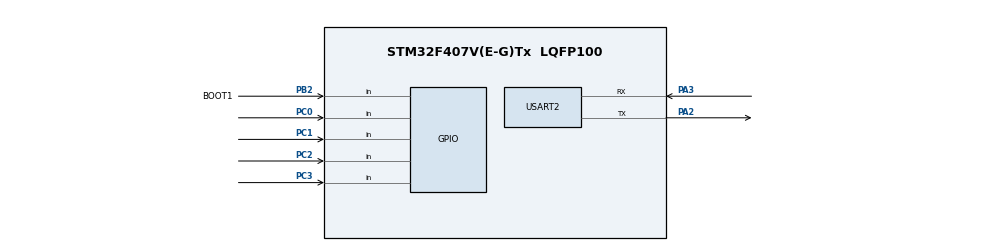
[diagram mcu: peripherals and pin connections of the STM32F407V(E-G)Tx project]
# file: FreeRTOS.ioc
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FREERTOS.INCLUDE_vTaskCleanUpResources=1
FREERTOS.INCLUDE_vTaskDelayUntil=1
FREERTOS.Tasks01=defaultTask,0,1280,StartDefaultTask,Default,NULL,Dynamic,NULL,NULL
FREERTOS.configGENERATE_RUN_TIME_STATS=1
FREERTOS.configMINIMAL_STACK_SIZE=256
FREERTOS.configUSE_STATS_FORMATTING_FUNCTIONS=1
FREERTOS.configUSE_TRACE_FACILITY=1
Mcu.Family=STM32F4
Mcu.Name=STM32F407V(E-G)Tx
Mcu.Package=LQFP100
NVIC.PriorityGroup=NVIC_PRIORITYGROUP_4
NVIC.TIM1_UP_TIM10_IRQn=true\:0\:0\:false\:false\:true\:false\:false\:true
NVIC.TimeBase=TIM1_UP_TIM10_IRQn
NVIC.TimeBaseIP=TIM1
PA13.GPIO_Label=SWDIO
PA13.Mode=Serial_Wire
PA13.Signal=SYS_JTMS-SWDIO
PA14.GPIO_Label=SWCLK
PA14.Mode=Serial_Wire
PA14.Signal=SYS_JTCK-SWCLK
PA2.Mode=Asynchronous
PA2.Signal=USART2_TX
PA3.Mode=Asynchronous
PA3.Signal=USART2_RX
PB2.GPIO_Label=BOOT1
PB2.GPIO_Mode=GPIO_MODE_INPUT
PB2.GPIO_PuPd=GPIO_NOPULL
PB2.Signal=GPIO_Input
PC0.Signal=GPIO_Input
PC1.Signal=GPIO_Input
PC14-OSC32_IN.Mode=LSE-External-Oscillator
PC14-OSC32_IN.Signal=RCC_OSC32_IN
PC15-OSC32_OUT.Mode=LSE-External-Oscillator
PC15-OSC32_OUT.Signal=RCC_OSC32_OUT
PC2.Signal=GPIO_Input
PC3.Signal=GPIO_Input
PH0-OSC_IN.Mode=HSE-External-Oscillator
PH0-OSC_IN.Signal=RCC_OSC_IN
PH1-OSC_OUT.Mode=HSE-External-Oscillator
PH1-OSC_OUT.Signal=RCC_OSC_OUT
ProjectManager.HeapSize=0x200
ProjectManager.StackSize=0x400
ProjectManager.TargetToolchain=STM32CubeIDE
RCC.48MHZClocksFreq_Value=48000000
RCC.AHBFreq_Value=168000000
RCC.APB1CLKDivider=RCC_HCLK_DIV4
RCC.APB1Freq_Value=42000000
RCC.APB1TimFreq_Value=84000000
RCC.APB2CLKDivider=RCC_HCLK_DIV2
RCC.APB2Freq_Value=84000000
RCC.APB2TimFreq_Value=168000000
RCC.CortexFreq_Value=168000000
RCC.HCLKFreq_Value=168000000
RCC.HSE_VALUE=8000000
RCC.HSI_VALUE=16000000
RCC.PLLM=8
RCC.PLLN=336
RCC.PLLQ=7
RCC.PLLSourceVirtual=RCC_PLLSOURCE_HSE
RCC.SYSCLKFreq_VALUE=168000000
RCC.SYSCLKSource=RCC_SYSCLKSOURCE_PLLCLK
RCC.VCOOutputFreq_Value=336000000
USART2.VirtualMode=VM_ASYNC
VP_FREERTOS_VS_CMSIS_V1.Mode=CMSIS_V1
VP_SYS_VS_tim1.Mode=TIM1
board=STM32F407G-DISC1

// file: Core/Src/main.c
/* USER CODE BEGIN Header */
/**
  ******************************************************************************
  * @file           : main.c
  * @brief          : Main program body
  ******************************************************************************
  * @attention
  *
  * <h2><center>&copy; Copyright (c) 2020 STMicroelectronics.
  * All rights reserved.</center></h2>
  *
  * This software component is licensed by ST under Ultimate Liberty license
  * SLA0044, the "License"; You may not use this file except in compliance with
  * the License. You may obtain a copy of the License at:
  *                             www.st.com/SLA0044
  *
  ******************************************************************************
  */
/* USER CODE END Header */
#include "main.h"
#include "cmsis_os.h"

/* USER CODE BEGIN Includes */
#include "tasks.h"
#include "init.h"
#include "stdint.h"
#include "string.h"
#include "stdio.h"
#include "stdlib.h"
#include "inttypes.h"
#include "stdarg.h"
/* USER CODE END Includes */

osThreadId defaultTaskHandle; //main task handle
/* USER CODE BEGIN PV */

osThreadId CarWash1Handle, CarWash2Handle, CarWash3Handle, CarWash4Handle; //handles for creating tasks
osMessageQId CarWash1Queue, CarWash2Queue, CarWash3Queue, CarWash4Queue; //handles for creating queues
xSemaphoreHandle Mutex;
xSemaphoreHandle SemaphoreFromISR; //Changing from ISR (MainButtonStatus)
volatile unsigned char Protect[4] = {1, 1, 1, 1,}; //Protect flags that program cant send message to car wasning tasks again while this tasks is running
volatile uint8_t AccesToDefaultTask = 0;
/* USER CODE END PV */

void StartDefaultTask(void const * argument);

/* USER CODE BEGIN PFP */
void SendMessageToWashingTask(uint8_t Task, uint8_t WashingPlace, osMessageQId* CarWashQueue);
/* USER CODE END PFP */

int main(void)
{

  /* MCU Configuration--------------------------------------------------------*/

  /* Reset of all peripherals, Initializes the Flash interface and the Systick. */
  HAL_Init();

  /* Configure the system clock */

  /* Initialize all configured peripherals */

  /* USER CODE BEGIN 2 */
  SystemClock_Config();
  MX_USART2_UART_Init();
  MX_GPIO_Init();
  /* USER CODE END 2 */

  /* USER CODE BEGIN RTOS_MUTEX */
  /* add mutexes, ... */
  Mutex = xSemaphoreCreateMutex(); /*mutex - using for protect critical part of code. In this program it is UART transmit (=*/
  SemaphoreFromISR = xSemaphoreCreateBinary();
  /* USER CODE END RTOS_MUTEX */

  /* USER CODE BEGIN RTOS_QUEUES */
  /* add queues, ... */
  osMessageQDef(CarWash1Queue, 1, uint16_t);
  CarWash1Queue = osMessageCreate(osMessageQ(CarWash1Queue), NULL);

  osMessageQDef(CarWash2Queue, 1, uint16_t);
  CarWash2Queue = osMessageCreate(osMessageQ(CarWash2Queue), NULL);

  osMessageQDef(CarWash3Queue, 1, uint16_t);
  CarWash3Queue = osMessageCreate(osMessageQ(CarWash3Queue), NULL);

  osMessageQDef(CarWash4Queue, 1, uint16_t);
  CarWash4Queue = osMessageCreate(osMessageQ(CarWash4Queue), NULL);
  /* USER CODE END RTOS_QUEUES */

  /* Create the thread(s) */
  /* definition and creation of defaultTask */
  osThreadDef(defaultTask, StartDefaultTask, osPriorityNormal, 0, 1280);
  defaultTaskHandle = osThreadCreate(osThread(defaultTask), NULL);

  /* Start scheduler */
  osKernelStart();

  /* We should never get here as control is now taken by the scheduler */
  /* Infinite loop */
  while (1)
  {

  }
}

/* USER CODE BEGIN 4 */
void SendMessageToWashingTask(uint8_t Task, uint8_t WashingPlace, osMessageQId* CarWashQueue)
{
  if(Protect[Task] && (HAL_GPIO_ReadPin(GPIOC, WashingPlace) == GPIO_PIN_SET))
  {
    osMessagePut(*CarWashQueue, 1, portMAX_DELAY);
    Protect[Task] = TASK_PROTECTED;
  }
}
/* USER CODE END 4 */

void StartDefaultTask(void const * argument) /*Deafult task. This task creates new tasks for new cars*/
{
  /* USER CODE BEGIN 5 */
  /*Creating 4 washings tasks*/
  osThreadDef(carwash1, CarWash1, osPriorityNormal, 0, 1280);
  CarWash1Handle = osThreadCreate(osThread(carwash1), NULL);

  osThreadDef(carwash2, CarWash2, osPriorityNormal, 0, 1280);
  CarWash2Handle = osThreadCreate(osThread(carwash2), NULL);

  osThreadDef(carwash3, CarWash3, osPriorityNormal, 0, 1280);
  CarWash3Handle = osThreadCreate(osThread(carwash3), NULL);

  osThreadDef(carwash4, CarWash4, osPriorityNormal, 0, 1280);
  CarWash4Handle = osThreadCreate(osThread(carwash4), NULL);

  /*This algorithm check the main button, then if last one is NOT ZERO check the protect flags and pin status(washing place)*/
  /*Then it send just 1 byte(logical 1) to tasks and "lock the door" to the checking one of 4 tasks pin*/

  for(;;)
  {
    if(xSemaphoreTake(SemaphoreFromISR, portMAX_DELAY) == pdTRUE)
    {
      osDelay(30);
      if(HAL_GPIO_ReadPin(GPIOA, MAIN_BUTTON_PIN) == GPIO_PIN_SET)
      {
        SendMessageToWashingTask(THE_FIRST_TASK, FIRST_WASHING_PLACE, &CarWash1Queue);
        SendMessageToWashingTask(THE_SECOND_TASK, SECOND_WASHING_PLACE, &CarWash2Queue);
        SendMessageToWashingTask(THE_THIRD_TASK, THIRD_WASHING_PLACE, &CarWash3Queue);
        SendMessageToWashingTask(THE_FOURTH_TASK, FOURTH_WASHIN_PLACE, &CarWash4Queue);
      }
    }
    HAL_NVIC_EnableIRQ(EXTI0_IRQn);
    osDelay(1);
  }
}
  /* USER CODE END 5 */

void HAL_TIM_PeriodElapsedCallback(TIM_HandleTypeDef *htim)
{
  if (htim->Instance == TIM1) {
    HAL_IncTick();
  }
}

void Error_Handler(void)
{
}

/************************ (C) COPYRIGHT STMicroelectronics *****END OF FILE****/

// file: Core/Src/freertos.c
/* USER CODE BEGIN Header */
/**
  ******************************************************************************
  * File Name          : freertos.c
  * Description        : Code for freertos applications
  ******************************************************************************
  * @attention
  *
  * <h2><center>&copy; Copyright (c) 2020 STMicroelectronics.
  * All rights reserved.</center></h2>
  *
  * This software component is licensed by ST under Ultimate Liberty license
  * SLA0044, the "License"; You may not use this file except in compliance with
  * the License. You may obtain a copy of the License at:
  *                             www.st.com/SLA0044
  *
  ******************************************************************************
  */
/* USER CODE END Header */

#include "FreeRTOS.h"
#include "task.h"
#include "main.h"

/* GetIdleTaskMemory prototype (linked to static allocation support) */
void vApplicationGetIdleTaskMemory( StaticTask_t **ppxIdleTaskTCBBuffer, StackType_t **ppxIdleTaskStackBuffer, uint32_t *pulIdleTaskStackSize );

/* Hook prototypes */
void configureTimerForRunTimeStats(void);
unsigned long getRunTimeCounterValue(void);

/* USER CODE BEGIN 1 */
/* Functions needed when configGENERATE_RUN_TIME_STATS is on */
__weak void configureTimerForRunTimeStats(void)
{

}

__weak unsigned long getRunTimeCounterValue(void)
{
return 0;
}
/* USER CODE END 1 */

/* USER CODE BEGIN GET_IDLE_TASK_MEMORY */
static StaticTask_t xIdleTaskTCBBuffer;
static StackType_t xIdleStack[configMINIMAL_STACK_SIZE];

void vApplicationGetIdleTaskMemory( StaticTask_t **ppxIdleTaskTCBBuffer, StackType_t **ppxIdleTaskStackBuffer, uint32_t *pulIdleTaskStackSize )
{
  *ppxIdleTaskTCBBuffer = &xIdleTaskTCBBuffer;
  *ppxIdleTaskStackBuffer = &xIdleStack[0];
  *pulIdleTaskStackSize = configMINIMAL_STACK_SIZE;
  /* place for user code */
}
/* USER CODE END GET_IDLE_TASK_MEMORY */

/************************ (C) COPYRIGHT STMicroelectronics *****END OF FILE****/
